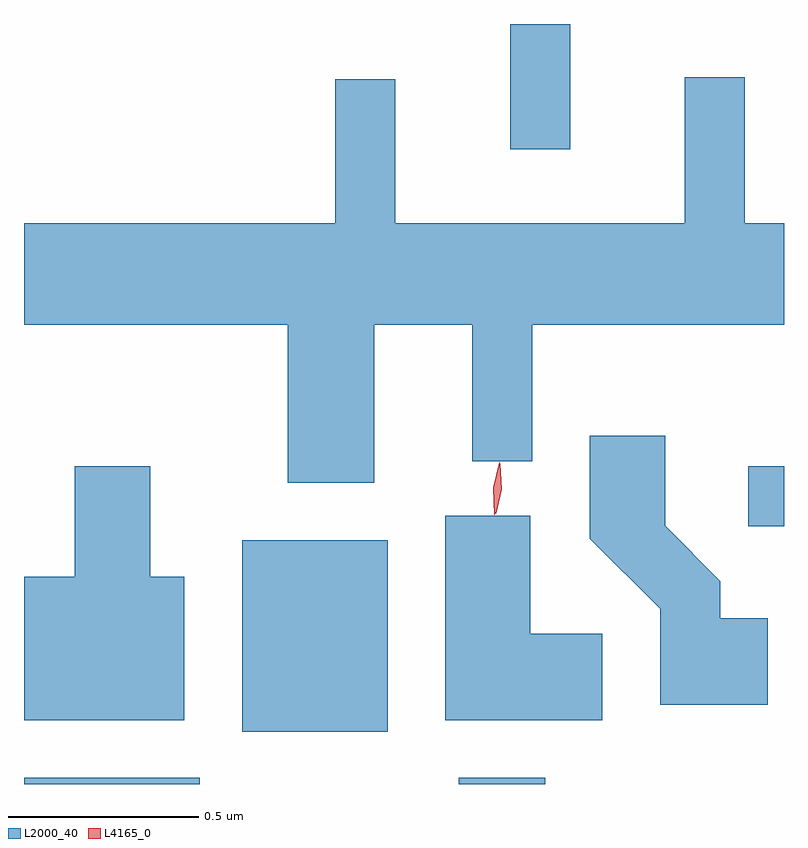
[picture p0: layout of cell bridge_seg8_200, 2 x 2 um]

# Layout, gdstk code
import gdstk
lib = gdstk.Library(unit=1e-6, precision=1e-09)
def R(c, l, rs):  # rectangles x0, y0, x1, y1
    for r in rs: c.add(gdstk.rectangle(r[:2], r[2:], *l))
def P(c, l, *ps):  # polygons
    for p in ps: c.add(gdstk.Polygon(p, *l))
L2000_40 = (2000, 40)
L4165_0 = (4165, 0)

bridge_seg8_200 = lib.new_cell('bridge_seg8_200')
R(bridge_seg8_200, L2000_40, [(1155.087,1928.448,1155.549,1928.464), (1156.231,1928.448,1156.459,1928.464), (1155.661,1928.586,1156.044,1929.089), (1156.993,1929.126,1157.087,1929.284), (1156.366,1930.118,1156.524,1930.448)])
P(bridge_seg8_200, L2000_40, [(1156.009,1929.656),(1156.266,1929.656),(1156.266,1929.298),(1156.424,1929.298),(1156.424,1929.656),(1157.087,1929.656),(1157.087,1929.924),(1156.984,1929.924),(1156.984,1930.308),(1156.826,1930.308),(1156.826,1929.924),(1156.064,1929.924),(1156.064,1930.303),(1155.906,1930.303),(1155.906,1929.924),(1155.087,1929.924),(1155.087,1929.656),(1155.781,1929.656),(1155.781,1929.241),(1156.009,1929.241)],
  [(1157.044,1928.884),(1156.919,1928.884),(1156.919,1928.982),(1156.774,1929.127),(1156.774,1929.364),(1156.576,1929.364),(1156.576,1929.094),(1156.761,1928.909),(1156.761,1928.656),(1157.044,1928.656)],
  [(1155.509,1928.994),(1155.419,1928.994),(1155.419,1929.284),(1155.221,1929.284),(1155.221,1928.994),(1155.087,1928.994),(1155.087,1928.616),(1155.509,1928.616)],
  [(1156.609,1928.844),(1156.419,1928.844),(1156.419,1929.154),(1156.196,1929.154),(1156.196,1928.616),(1156.609,1928.616)])
P(bridge_seg8_200, L4165_0, [(1156.329,1929.159),(1156.328,1929.16),(1156.324,1929.226),(1156.339,1929.291),(1156.34,1929.291),(1156.34,1929.291),(1156.344,1929.224),(1156.33,1929.16)],
  [(1156.325,1929.157),(1156.325,1929.157),(1156.322,1929.227),(1156.338,1929.294),(1156.339,1929.295),(1156.339,1929.294),(1156.342,1929.225),(1156.326,1929.157)])

lib.write_gds('bridge_seg8_200.gds')
